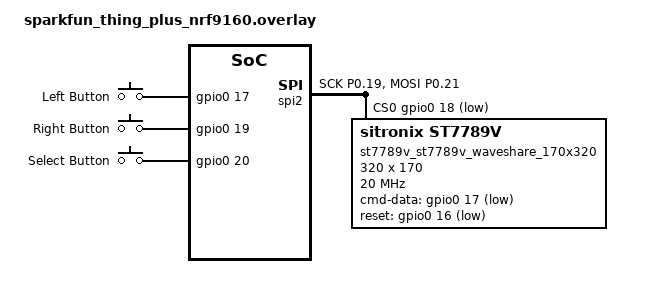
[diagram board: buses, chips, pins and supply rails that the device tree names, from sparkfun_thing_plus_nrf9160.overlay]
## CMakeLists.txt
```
#
# Copyright (c) 2020 Nordic Semiconductor
#
# SPDX-License-Identifier: LicenseRef-Nordic-5-Clause
#

cmake_minimum_required(VERSION 3.20.0)

find_package(Zephyr REQUIRED HINTS $ENV{ZEPHYR_BASE})
project(orecart)

set(gen_dir ${ZEPHYR_BINARY_DIR}/include/generated/)

set(SRC_FILES
    ${CMAKE_CURRENT_SOURCE_DIR}/src/main.cpp

    ${CMAKE_CURRENT_SOURCE_DIR}/src/common/logging.cpp
    ${CMAKE_CURRENT_SOURCE_DIR}/src/common/tools.cpp

    ## Modules
    # Net Module
    ${CMAKE_CURRENT_SOURCE_DIR}/src/modules/net_module/socket.cpp
    ${CMAKE_CURRENT_SOURCE_DIR}/src/modules/net_module/nrf9160_setup.cpp
    ${CMAKE_CURRENT_SOURCE_DIR}/src/modules/net_module/net_module.cpp
    ${CMAKE_CURRENT_SOURCE_DIR}/src/modules/net_module/net_scheduler.cpp

    # Tracking Module
    ${CMAKE_CURRENT_SOURCE_DIR}/src/modules/tracking_module/tracking_module.cpp
)

# target_include_directories(app PRIVATE
#     ${CMAKE_CURRENT_SOURCE_DIR}/src/modules/net_module
# )

# generate_inc_file_for_target(
#     app
#     res/cert/server_dos.der
#     ${gen_dir}/server_dos.der.inc
# )

# NORDIC SDK APP START
target_sources(app PRIVATE ${SRC_FILES})
# NORDIC SDK APP END
```

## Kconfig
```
menu "OreCart Hardware"

# config SAMPLE_TFM_MBEDTLS
# 	bool "Use TF-M and MbedTLS"
# 	help
# 	  Use TF-M and MbedTLS in this sample instead of using
# 	  the offloaded TLS stack in the modem.

endmenu

menu "Zephyr Kernel"
source "Kconfig.zephyr"
endmenu
```

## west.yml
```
manifest:
  self:
    path: application
  remotes:
    - name: sdk
      url-base: https://github.com/nrfconnect
  projects:
    - name: sdk-nrf
      remote: sdk
      path: nrf
      revision: v2.5.0
      import:
        path-prefix: external
      clone-depth: 1
```

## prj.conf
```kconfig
CONFIG_CPP=y
CONFIG_NEWLIB_LIBC_NANO=n
CONFIG_CPP_EXCEPTIONS=y
CONFIG_GLIBCXX_LIBCPP=y
CONFIG_STD_CPP20=y

CONFIG_NRF_MODEM_LIB=y

CONFIG_NETWORKING=y
CONFIG_NET_SOCKETS=y
CONFIG_NET_SOCKETS_POSIX_NAMES=y
CONFIG_NET_NATIVE=n

CONFIG_NET_IPV4=y
CONFIG_NET_IPV6=y

CONFIG_HTTP_CLIENT=y

CONFIG_DISPLAY=y

# 100 KB
CONFIG_HEAP_MEM_POOL_SIZE=102400
CONFIG_MAIN_STACK_SIZE=4096

CONFIG_MODEM_KEY_MGMT=y
CONFIG_LTE_LINK_CONTROL=y

CONFIG_PDN=y
CONFIG_PDN_ESM_STRERROR=y

CONFIG_SPI=y
CONFIG_GPIO=y

CONFIG_FLASH=y
CONFIG_FLASH_MAP=y
CONFIG_FLASH_PAGE_LAYOUT=y

CONFIG_FILE_SYSTEM=y
CONFIG_FILE_SYSTEM_LITTLEFS=y

CONFIG_CHARACTER_FRAMEBUFFER=y
CONFIG_CHARACTER_FRAMEBUFFER_USE_DEFAULT_FONTS=y

# CONFIG_FPU=y
# CONFIG_TFM_ENABLE_FP=y
# CONFIG_NEWLIB_LIBC=y
# CONFIG_NEWLIB_LIBC_FLOAT_PRINTF=y

CONFIG_BOOTLOADER_MCUBOOT=y
```

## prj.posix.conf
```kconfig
CONFIG_NETWORKING=y
CONFIG_NET_UDP=y
CONFIG_NET_TCP=y
CONFIG_NET_SOCKETS=y
CONFIG_NET_SOCKETS_POSIX_NAMES=y

CONFIG_ENTROPY_GENERATOR=y
# CONFIG_ENTROPY_DEVICE_RANDOM_GENERATOR=y
# CONFIG_TEST_RANDOM_GENERATOR=y
CONFIG_INIT_STACKS=y

CONFIG_NET_IPV4=y
CONFIG_NET_IPV6=y

CONFIG_DNS_RESOLVER=y
# CONFIG_MDNS_RESOLVER=y
CONFIG_DNS_SERVER_IP_ADDRESSES=y

CONFIG_HTTP_CLIENT=y

CONFIG_NET_L2_ETHERNET=y
CONFIG_HEAP_MEM_POOL_SIZE=1024
CONFIG_MAIN_STACK_SIZE=4096

CONFIG_ETH_NATIVE_POSIX=y
CONFIG_ETH_NATIVE_POSIX_RANDOM_MAC=y

# CONFIG_ETH_NATIVE_POSIX_DRV_NAME="tap0"

CONFIG_NET_CONFIG_SETTINGS=y
# CONFIG_NET_CONFIG_NEED_IPV6=y
CONFIG_NET_CONFIG_NEED_IPV4=y
# CONFIG_NET_CONFIG_MY_IPV6_ADDR="2001:db8::1"
# CONFIG_NET_CONFIG_PEER_IPV6_ADDR="2001:db8::2"
CONFIG_NET_CONFIG_MY_IPV4_ADDR="192.0.2.1"
CONFIG_NET_CONFIG_PEER_IPV4_ADDR="192.0.2.2"
CONFIG_NET_CONFIG_MY_IPV4_GW="192.0.2.2"

CONFIG_DNS_SERVER1="192.0.2.2:5353"
CONFIG_DNS_SERVER2="192.0.2.2:5353"

CONFIG_PTHREAD_IPC=y
CONFIG_POSIX_CLOCK=y

# CONFIG_WOLFSSL=y
# CONFIG_WOLFSSL_BUILTIN=y


CONFIG_NET_SOCKETS_SOCKOPT_TLS=y


CONFIG_MBEDTLS=y
CONFIG_MBEDTLS_BUILTIN=y
CONFIG_MBEDTLS_CFG_FILE="config-tls-generic.h"
CONFIG_MBEDTLS_KEY_EXCHANGE_ECDHE_RSA_ENABLED=y
CONFIG_MBEDTLS_ENTROPY_ENABLED=y
CONFIG_MBEDTLS_PSA_CRYPTO_C=y
CONFIG_MBEDTLS_DTLS=y
CONFIG_MBEDTLS_ECP_C=y
CONFIG_MBEDTLS_ECDH_C=y
CONFIG_MBEDTLS_ECDSA_C=y
CONFIG_MBEDTLS_ECP_ALL_ENABLED=y
# CONFIG_NET_TCP_MAX_RECV_WINDOW_SIZE=4096 # NEED to enable this for large certs
# CONFIG_NET_TCP_MAX_SEND_WINDOW_SIZE=4096 # ^^

# CONFIG_MBEDTLS_PEM_CERTIFICATE_FORMAT=y

CONFIG_MBEDTLS_HAVE_TIME_DATE=y

CONFIG_MBEDTLS_ENABLE_HEAP=y
CONFIG_MBEDTLS_HEAP_SIZE=80000
CONFIG_MAIN_STACK_SIZE=4096

CONFIG_NET_LOG=y
# CONFIG_MBEDTLS_TLS_LIBRARY=y
CONFIG_MBEDTLS_SSL_DEBUG_ALL=y
CONFIG_MBEDTLS_DEBUG=y
CONFIG_MBEDTLS_DEBUG_LEVEL=4
CONFIG_MBEDTLS_KEY_EXCHANGE_ECDH_RSA_ENABLED=y
CONFIG_MBEDTLS_KEY_EXCHANGE_ECDH_ECDSA_ENABLED=y
CONFIG_MBEDTLS_KEY_EXCHANGE_ECDHE_RSA_ENABLED=y
CONFIG_MBEDTLS_KEY_EXCHANGE_ECDHE_ECDSA_ENABLED=y
CONFIG_MBEDTLS_KEY_EXCHANGE_DHE_RSA_ENABLED=y
CONFIG_MBEDTLS_DEBUG_C=y
# CONFIG_MBEDTLS_SSL_MAX_CONTENT_LEN=8192  # NEED TO ENABLE THIS WITH LARGE CERTS
CONFIG_MBEDTLS_SSL_PROTO_DTLS=y
CONFIG_NET_SOCKETS_LOG_LEVEL_DBG=y

# CONFIG_MBEDTLS_SSL_HAN


# CONFIG_NET_CAPTURE=y
# CONFIG_NET_PKT_LOG_LEVEL_DBG=y
# CONFIG_MBEDTLS_LOG_LEVEL_DBG=y
# CONFIG_NET_CAPTURE_LOG_LEVEL_DBG=y

# CONFIG_NEWLIB_LIBC=y
```

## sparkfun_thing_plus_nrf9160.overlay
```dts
/ {
	chosen {
		zephyr,display = &st7789v_st7789v_waveshare_170x320;
	};

    aliases {
        leftbutton = &button0;
        rightbutton = &button1;

        selectbutton = &button2;
    };

    buttons {
        compatible = "gpio-keys";
        button0: button_0 {
                gpios = <&gpio0 17 GPIO_ACTIVE_HIGH>;
                label = "Left Button";
        };
        button1: button_1 {
            gpios = <&gpio0 19 GPIO_ACTIVE_HIGH>;
            label = "Right Button";
        };
        button2: button_2 {
            gpios = <&gpio0 20 GPIO_ACTIVE_HIGH>;
            label = "Select Button";
        };
    };
};

&spi2 {
    status = "okay";
    cs-gpios = <&gpio0 18 GPIO_ACTIVE_LOW>;
    pinctrl-0 = <&spi2_default>;
    pinctrl-1 = <&spi2_sleep>;
    pinctrl-names = "default", "sleep";
    st7789v_st7789v_waveshare_170x320: st7789v@0 {
        compatible = "sitronix,st7789v";
		spi-max-frequency = <20000000>;
		reg = <0>;
		cmd-data-gpios = <&gpio0 17 GPIO_ACTIVE_LOW>;
		reset-gpios = <&gpio0 16 GPIO_ACTIVE_LOW>;
		width = <320>;
		height = <170>;
		x-offset = <0>;
		y-offset = <35>;
		vcom = <0x2b>;
		gctrl = <0x35>;
		vrhs = <0x0f>;
		vdvs = <0x20>;
		mdac = <0x60>;
		gamma = <0x01>;
		colmod = <0x55>;
		lcm = <0x2c>;
		porch-param = [0c 0c 00 33 33];
		cmd2en-param = [5a 69 02 01];
		pwctrl1-param = [52 a1];
		pvgam-param = [D0 00 02 07 0B 1A 31 54 40 29 12 12 12 17];
		nvgam-param = [D0 00 02 07 05 15 2D 44 44 1C 18 16 1C 1D];
		ram-param = [00 F8];
		rgb-param = [CD 08 14];
    };
};

&pinctrl {
    spi2_default: spi2_default {
        group1 {
            psels = <NRF_PSEL(SPIM_SCK, 0, 19)>,
                    <NRF_PSEL(SPIM_MOSI, 0, 21)>;
        };
    };
    spi2_sleep: spi2_sleep {
        group1 {
            psels = <NRF_PSEL(SPIM_SCK, 0, 19)>,
                    <NRF_PSEL(SPIM_MOSI, 0, 21)>;
            low-power-enable;
        };
    };
};

// Display pins:
// DC on GPIO 17
// RST on GPIO 16
// BL on GPIO 15
```

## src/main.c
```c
#include <zephyr/kernel.h>


#include "modules/server_module/nrf9160_setup.h"
#include "modules/server_module/server_module.h"

#include "common/van_info.h"
#include "common/location.h"

#define POSIX_MODE

#ifndef POSIX_MODE
#include <zephyr/drivers/gpio.h>
#define LED0_NODE DT_ALIAS(led0)
static const struct gpio_dt_spec led = GPIO_DT_SPEC_GET(LED0_NODE, gpios);
#endif

#define SLEEP_TIME_MS 2000


VanInfo van_info;

int main() {
	printk("Welcome to the OreCart Hardware Project!\r\n");
    int ret;

	server_module_init();

#ifndef POSIX_MODE
    if (!gpio_is_ready_dt(&led)) {
        return 0;
    }

    ret = gpio_pin_configure_dt(&led, GPIO_OUTPUT_ACTIVE);
	if (ret < 0) {
		return 0;
	}
#endif

#if defined(CONFIG_NRF_MODEM_LIB)
	init_nrf9160_modem();
#endif

	struct VanInfo van_info = {
		.van_id = 1
	};

	while (1) {
		
		
		server_send_van_location(&van_info, (struct Location){.lat = 213.12, .lon=20.123}, 100);
		k_sleep(K_SECONDS(1));
	}

	while (1) {
		k_sleep(K_SECONDS(15));
	}

	return 0;
}
```

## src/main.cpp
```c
#include <zephyr/kernel.h>
#include <zephyr/drivers/gpio.h>

#include "common/van_info.h"
#include "common/location.h"

#include "modules/net_module/net_module.h"
#include "modules/display_module/display_module.h"

#define LED0_NODE DT_ALIAS(led0)
static const struct gpio_dt_spec led = GPIO_DT_SPEC_GET(LED0_NODE, gpios);

#define SLEEP_TIME_MS 2000

VanInfo van_info;

int main() {
	OC_LOG_INFO("Welcome to the OreCart Hardware Project!");
    int ret;

	// net_module_init();

    if (!gpio_is_ready_dt(&led)) {
        return 0;
    }

    ret = gpio_pin_configure_dt(&led, GPIO_OUTPUT_ACTIVE);
	if (ret < 0) {
		return 0;
	}

	// struct VanInfo van_info = {
	// 	.van_id = 1
	// };

	// struct Location location = {.lat=213.12, .lon=20.123};

	// while (1) {
	// 	forward_van_location(van_info, location, 100);
	// 	k_sleep(K_SECONDS(20));
	// }

	display_test();

	while (1) {
		k_sleep(K_SECONDS(15));
	}

	return 0;
}
```

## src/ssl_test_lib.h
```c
/*
 *  Common code for SSL test programs
 *
 *  Copyright The Mbed TLS Contributors
 *  SPDX-License-Identifier: Apache-2.0
 *
 *  Licensed under the Apache License, Version 2.0 (the "License"); you may
 *  not use this file except in compliance with the License.
 *  You may obtain a copy of the License at
 *
 *  http://www.apache.org/licenses/LICENSE-2.0
 *
 *  Unless required by applicable law or agreed to in writing, software
 *  distributed under the License is distributed on an "AS IS" BASIS, WITHOUT
 *  WARRANTIES OR CONDITIONS OF ANY KIND, either express or implied.
 *  See the License for the specific language governing permissions and
 *  limitations under the License.
 */

#ifndef MBEDTLS_PROGRAMS_SSL_SSL_TEST_LIB_H
#define MBEDTLS_PROGRAMS_SSL_SSL_TEST_LIB_H

#include "mbedtls/build_info.h"

#include "mbedtls/platform.h"

#undef HAVE_RNG
#if defined(MBEDTLS_PSA_CRYPTO_EXTERNAL_RNG) &&         \
    (defined(MBEDTLS_USE_PSA_CRYPTO) ||                \
    defined(MBEDTLS_TEST_USE_PSA_CRYPTO_RNG))
#define HAVE_RNG
#elif defined(MBEDTLS_ENTROPY_C) && defined(MBEDTLS_CTR_DRBG_C)
#define HAVE_RNG
#elif defined(MBEDTLS_ENTROPY_C) && defined(MBEDTLS_HMAC_DRBG_C) &&     \
    (defined(MBEDTLS_SHA256_C) || defined(MBEDTLS_SHA512_C))
#define HAVE_RNG
#endif

#if !defined(MBEDTLS_NET_C) ||                              \
    !defined(MBEDTLS_SSL_TLS_C)
#define MBEDTLS_SSL_TEST_IMPOSSIBLE                         \
    "MBEDTLS_NET_C and/or "                                 \
    "MBEDTLS_SSL_TLS_C not defined."
#elif !defined(HAVE_RNG)
#define MBEDTLS_SSL_TEST_IMPOSSIBLE                         \
    "No random generator is available.\n"
#else
#undef MBEDTLS_SSL_TEST_IMPOSSIBLE

#undef HAVE_RNG

#include <stdio.h>
#include <stdlib.h>
#include <string.h>

#include "mbedtls/net_sockets.h"
#include "mbedtls/ssl.h"
#include "mbedtls/ssl_ciphersuites.h"
#include "mbedtls/entropy.h"
#include "mbedtls/ctr_drbg.h"
#include "mbedtls/hmac_drbg.h"
#include "mbedtls/x509.h"
#include "mbedtls/error.h"
#include "mbedtls/debug.h"
#include "mbedtls/timing.h"
#include "mbedtls/base64.h"
#include "test/certs.h"

#if defined(MBEDTLS_USE_PSA_CRYPTO) || defined(MBEDTLS_TEST_USE_PSA_CRYPTO_RNG)
#include "psa/crypto.h"
#include "mbedtls/psa_util.h"
#endif

#if defined(MBEDTLS_MEMORY_BUFFER_ALLOC_C)
#include "mbedtls/memory_buffer_alloc.h"
#endif

#include <test/helpers.h>

#include "../test/query_config.h"

typedef struct eap_tls_keys {
    unsigned char master_secret[48];
    unsigned char randbytes[64];
    mbedtls_tls_prf_types tls_prf_type;
} eap_tls_keys;

#if defined(MBEDTLS_SSL_DTLS_SRTP)

/* Supported SRTP mode needs a maximum of :
 * - 16 bytes for key (AES-128)
 * - 14 bytes SALT
 * One for sender, one for receiver context
 */
#define MBEDTLS_TLS_SRTP_MAX_KEY_MATERIAL_LENGTH    60

typedef struct dtls_srtp_keys {
    unsigned char master_secret[48];
    unsigned char randbytes[64];
    mbedtls_tls_prf_types tls_prf_type;
} dtls_srtp_keys;

#endif /* MBEDTLS_SSL_DTLS_SRTP */

typedef struct {
    mbedtls_ssl_context *ssl;
    mbedtls_net_context *net;
} io_ctx_t;

void my_debug(void *ctx, int level,
              const char *file, int line,
              const char *str);

#if defined(MBEDTLS_HAVE_TIME)
mbedtls_time_t dummy_constant_time(mbedtls_time_t *time);
#endif

#if defined(MBEDTLS_USE_PSA_CRYPTO) && !defined(MBEDTLS_TEST_USE_PSA_CRYPTO_RNG)
/* If MBEDTLS_TEST_USE_PSA_CRYPTO_RNG is defined, the SSL test programs will use
 * mbedtls_psa_get_random() rather than entropy+DRBG as a random generator.
 *
 * The constraints are:
 * - Without the entropy module, the PSA RNG is the only option.
 * - Without at least one of the DRBG modules, the PSA RNG is the only option.
 * - The PSA RNG does not support explicit seeding, so it is incompatible with
 *   the reproducible mode used by test programs.
 * - For good overall test coverage, there should be at least one configuration
 *   where the test programs use the PSA RNG while the PSA RNG is itself based
 *   on entropy+DRBG, and at least one configuration where the test programs
 *   do not use the PSA RNG even though it's there.
 *
 * A simple choice that meets the constraints is to use the PSA RNG whenever
 * MBEDTLS_USE_PSA_CRYPTO is enabled. There's no real technical reason the
 * choice to use the PSA RNG in the test programs and the choice to use
 * PSA crypto when TLS code needs crypto have to be tied together, but it
 * happens to be a good match. It's also a good match from an application
 * perspective: either PSA is preferred for TLS (both for crypto and for
 * random generation) or it isn't.
 */
#define MBEDTLS_TEST_USE_PSA_CRYPTO_RNG
#endif

/** A context for random number generation (RNG).
 */
typedef struct {
#if defined(MBEDTLS_TEST_USE_PSA_CRYPTO_RNG)
    unsigned char dummy;
#else /* MBEDTLS_TEST_USE_PSA_CRYPTO_RNG */
    mbedtls_entropy_context entropy;
#if defined(MBEDTLS_CTR_DRBG_C)
    mbedtls_ctr_drbg_context drbg;
#elif defined(MBEDTLS_HMAC_DRBG_C)
    mbedtls_hmac_drbg_context drbg;
#else
#error "No DRBG available"
#endif
#endif /* MBEDTLS_TEST_USE_PSA_CRYPTO_RNG */
} rng_context_t;

/** Initialize the RNG.
 *
 * This function only initializes the memory used by the RNG context.
 * Before using the RNG, it must be seeded with rng_seed().
 */
void rng_init(rng_context_t *rng);

/* Seed the random number generator.
 *
 * \param rng           The RNG context to use. It must have been initialized
 *                      with rng_init().
 * \param reproducible  If zero, seed the RNG from entropy.
 *                      If nonzero, use a fixed seed, so that the program
 *                      will produce the same sequence of random numbers
 *                      each time it is invoked.
 * \param pers          A null-terminated string. Different values for this
 *                      string cause the RNG to emit different output for
 *                      the same seed.
 *
 * return 0 on success, a negative value on error.
 */
int rng_seed(rng_context_t *rng, int reproducible, const char *pers);

/** Deinitialize the RNG. Free any embedded resource.
 *
 * \param rng           The RNG context to deinitialize. It must have been
 *                      initialized with rng_init().
 */
void rng_free(rng_context_t *rng);

/** Generate random data.
 *
 * This function is suitable for use as the \c f_rng argument to Mbed TLS
 * library functions.
 *
 * \param p_rng         The random generator context. This must be a pointer to
 *                      a #rng_context_t structure.
 * \param output        The buffer to fill.
 * \param output_len    The length of the buffer in bytes.
 *
 * \return              \c 0 on success.
 * \return              An Mbed TLS error code on error.
 */
int rng_get(void *p_rng, unsigned char *output, size_t output_len);

/** Parse command-line option: key_opaque_algs
 *
 *
 * \param arg           String value of key_opaque_algs
 *                      Coma-separated pair of values among the following:
 *                      - "rsa-sign-pkcs1"
 *                      - "rsa-sign-pss"
 *                      - "rsa-decrypt"
 *                      - "ecdsa-sign"
 *                      - "ecdh"
 *                      - "none" (only acceptable for the second value).
 * \param alg1          Address of pointer to alg #1
 * \param alg2          Address of pointer to alg #2
 *
 * \return              \c 0 on success.
 * \return              \c 1 on parse failure.
 */
int key_opaque_alg_parse(const char *arg, const char **alg1, const char **alg2);

#if defined(MBEDTLS_USE_PSA_CRYPTO)
/** Parse given opaque key algorithms to obtain psa algs and usage
 *  that will be passed to mbedtls_pk_wrap_as_opaque().
 *
 *
 * \param alg1          input string opaque key algorithm #1
 * \param alg2          input string opaque key algorithm #2
 * \param psa_alg1      output PSA algorithm #1
 * \param psa_alg2      output PSA algorithm #2
 * \param usage         output key usage
 * \param key_type      key type used to set default psa algorithm/usage
 *                      when alg1 in "none"
 *
 * \return              \c 0 on success.
 * \return              \c 1 on parse failure.
 */
int key_opaque_set_alg_usage(const char *alg1, const char *alg2,
                             psa_algorithm_t *psa_alg1,
                             psa_algorithm_t *psa_alg2,
                             psa_key_usage_t *usage,
                             mbedtls_pk_type_t key_type);
#endif /* MBEDTLS_USE_PSA_CRYPTO */

#if defined(MBEDTLS_USE_PSA_CRYPTO) && defined(MBEDTLS_PSA_CRYPTO_EXTERNAL_RNG)
/* The test implementation of the PSA external RNG is insecure. When
 * MBEDTLS_PSA_CRYPTO_EXTERNAL_RNG is enabled, before using any PSA crypto
 * function that makes use of an RNG, you must call
 * mbedtls_test_enable_insecure_external_rng(). */
#include <test/fake_external_rng_for_test.h>
#endif

#if defined(MBEDTLS_X509_TRUSTED_CERTIFICATE_CALLBACK)
int ca_callback(void *data, mbedtls_x509_crt const *child,
                mbedtls_x509_crt **candidates);
#endif /* MBEDTLS_X509_TRUSTED_CERTIFICATE_CALLBACK */

/*
 * Test recv/send functions that make sure each try returns
 * WANT_READ/WANT_WRITE at least once before succeeding
 */
int delayed_recv(void *ctx, unsigned char *buf, size_t len);
int delayed_send(void *ctx, const unsigned char *buf, size_t len);

/*
 * Wait for an event from the underlying transport or the timer
 * (Used in event-driven IO mode).
 */
int idle(mbedtls_net_context *fd,
#if defined(MBEDTLS_TIMING_C)
         mbedtls_timing_delay_context *timer,
#endif
         int idle_reason);

#if defined(MBEDTLS_TEST_HOOKS)
/** Initialize whatever test hooks are enabled by the compile-time
 * configuration and make sense for the TLS test programs. */
void test_hooks_init(void);

/** Check if any test hooks detected a problem.
 *
 * If a problem was detected, it's ok for the calling program to keep going,
 * but it should ultimately exit with an error status.
 *
 * \note When implementing a test hook that detects errors on its own
 *       (as opposed to e.g. leaving the error for a memory sanitizer to
 *       report), make sure to print a message to standard error either at
 *       the time the problem is detected or during the execution of this
 *       function. This function does not indicate what problem was detected,
 *       so printing a message is the only way to provide feedback in the
 *       logs of the calling program.
 *
 * \return Nonzero if a problem was detected.
 *         \c 0 if no problem was detected.
 */
int test_hooks_failure_detected(void);

/** Free any resources allocated for the sake of test hooks.
 *
 * Call this at the end of the program so that resource leak analyzers
 * don't complain.
 */
void test_hooks_free(void);

#endif /* !MBEDTLS_TEST_HOOKS */

#endif /* MBEDTLS_SSL_TEST_IMPOSSIBLE conditions: else */
#endif /* MBEDTLS_PROGRAMS_SSL_SSL_TEST_LIB_H */
```
